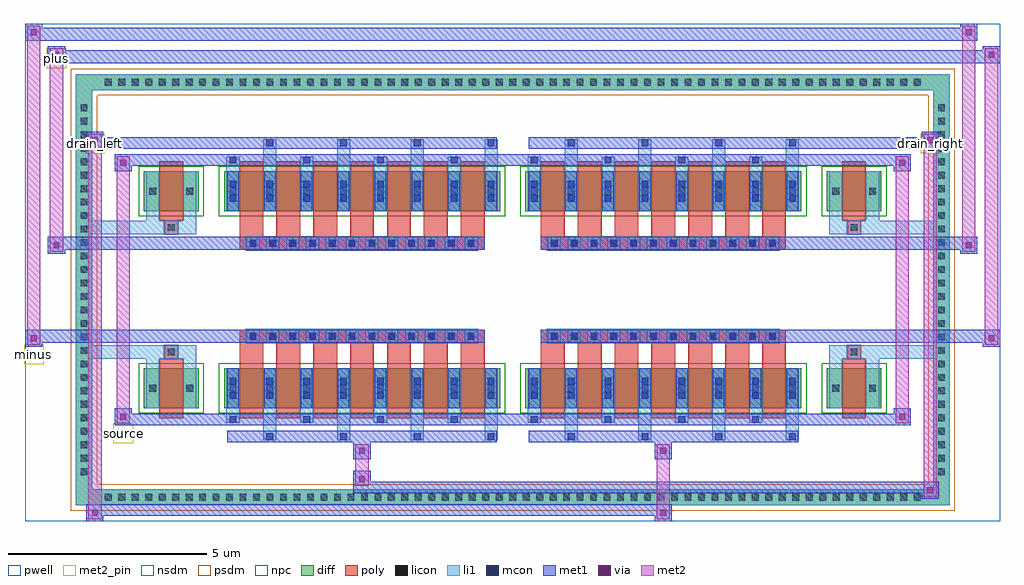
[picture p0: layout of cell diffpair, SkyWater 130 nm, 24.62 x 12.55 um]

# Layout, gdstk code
import gdstk
lib = gdstk.Library(unit=1e-6, precision=5e-09)
def R(c, l, rs):  # rectangles x0, y0, x1, y1
    for r in rs: c.add(gdstk.rectangle(r[:2], r[2:], *l))
def A(c, l, x, y, w, h, nx, ny, dx, dy):  # array of equal rectangles
    R(c, l, [(x+i*dx, y+j*dy, x+i*dx+w, y+j*dy+h) for i in range(nx) for j in range(ny)])
def P(c, l, *ps):  # polygons
    for p in ps: c.add(gdstk.Polygon(p, *l))
pwell = (64, 44)
diff = (65, 20)
poly = (66, 20)
licon = (66, 44)
li1 = (67, 20)
mcon = (67, 44)
met1 = (68, 20)
via = (68, 44)
met2_pin = (69, 16)
met2 = (69, 20)
nsdm = (93, 44)
psdm = (94, 20)
npc = (95, 20)

diffpair = lib.new_cell('diffpair')
R(diffpair, pwell, [(-12.29,-5.84,12.29,6.71), (-9.61,-4.03,-0.01,-0.805), (0.01,-4.03,9.61,-0.805), (-9.61,0.805,-0.01,4.03), (0.01,0.805,9.61,4.03)])
A(diffpair, diff, -10.405, -5.44, 0.41, 0.41, 61, 2, 0.34, 10.47)
A(diffpair, diff, -11.02, -4.795, 0.41, 0.41, 1, 28, 0, 0.34)
A(diffpair, diff, 10.61, -4.795, 0.41, 0.41, 1, 28, 0, 0.34)
R(diffpair, diff, [(-10.405,-5.44,10.405,-5.03), (-11.02,-4.795,-10.61,4.795), (10.61,-4.795,11.02,4.795), (-9.3,-2.985,-7.92,-1.985), (-7.28,-2.985,-0.32,-1.985), (0.32,-2.985,7.28,-1.985), (7.92,-2.985,9.3,-1.985), (-9.3,1.985,-7.92,2.985), (-7.28,1.985,-0.32,2.985), (0.32,1.985,7.28,2.985), (7.92,1.985,9.3,2.985), (-10.405,5.03,10.405,5.44)])
P(diffpair, diff, [(11.02,5.44),(-11.02,5.44),(-11.02,-5.03),(-10.61,-5.03),(-10.61,5.03),(10.61,5.03),(10.61,-5.03),(-10.61,-5.03),(-11.02,-5.03),(-11.02,-5.44),(11.02,-5.44)])
A(diffpair, poly, -6.89, -3.235, 0.6, 1.5, 7, 2, 0.93, 4.97)
A(diffpair, poly, 0.71, -3.235, 0.6, 1.5, 7, 2, 0.93, 4.97)
A(diffpair, poly, -6.89, -1.735, 0.6, 0.4, 7, 2, 0.93, 3.07)
A(diffpair, poly, 0.71, -1.735, 0.6, 0.4, 7, 2, 0.93, 3.07)
A(diffpair, poly, -6.715, -1.335, 0.33, 0.33, 12, 2, 0.5, 2.34)
A(diffpair, poly, 0.885, -1.335, 0.33, 0.33, 12, 2, 0.5, 2.34)
R(diffpair, poly, [(-8.91,-3.235,-8.31,-1.735), (8.31,-3.235,8.91,-1.735), (-8.775,-1.735,-8.445,-1.405), (-8.775,-1.735,-8.445,-1.405), (8.445,-1.735,8.775,-1.405), (8.445,-1.735,8.775,-1.405), (-6.89,-1.335,-0.71,-1.005), (0.71,-1.335,6.89,-1.005), (-6.89,1.005,-0.71,1.335), (0.71,1.005,6.89,1.335), (-8.775,1.405,-8.445,1.735), (-8.775,1.405,-8.445,1.735), (8.445,1.405,8.775,1.735), (8.445,1.405,8.775,1.735), (-8.91,1.735,-8.31,3.235), (8.31,1.735,8.91,3.235)])
A(diffpair, licon, -10.285, -5.32, 0.17, 0.17, 61, 2, 0.34, 10.47)
A(diffpair, licon, -10.9, -4.675, 0.17, 0.17, 1, 28, 0, 0.34)
A(diffpair, licon, 10.73, -4.675, 0.17, 0.17, 1, 28, 0, 0.34)
A(diffpair, licon, -7.14, -2.57, 0.17, 0.17, 8, 2, 0.93, 4.97)
A(diffpair, licon, 0.46, -2.57, 0.17, 0.17, 8, 2, 0.93, 4.97)
A(diffpair, licon, -6.635, -1.255, 0.17, 0.17, 12, 2, 0.5, 2.34)
A(diffpair, licon, 0.965, -1.255, 0.17, 0.17, 12, 2, 0.5, 2.34)
R(diffpair, licon, [(-9.16,-2.57,-8.99,-2.4), (-8.23,-2.57,-8.06,-2.4), (8.06,-2.57,8.23,-2.4), (8.99,-2.57,9.16,-2.4), (-8.695,-1.655,-8.525,-1.485), (8.525,-1.655,8.695,-1.485), (-8.695,1.485,-8.525,1.655), (8.525,1.485,8.695,1.655), (-9.16,2.4,-8.99,2.57), (-8.23,2.4,-8.06,2.57), (8.06,2.4,8.23,2.57), (8.99,2.4,9.16,2.57)])
A(diffpair, li1, -10.365, -5.4, 0.33, 0.33, 61, 2, 0.34, 10.47)
A(diffpair, li1, -10.98, -4.755, 0.33, 0.33, 1, 28, 0, 0.34)
A(diffpair, li1, 10.65, -4.755, 0.33, 0.33, 1, 28, 0, 0.34)
A(diffpair, li1, -6.29, -3.79, 0.33, 0.805, 4, 2, 1.86, 6.775)
A(diffpair, li1, -6.21, -3.79, 0.17, 0.17, 4, 2, 1.86, 7.41)
A(diffpair, li1, 1.31, -3.79, 0.33, 0.805, 4, 2, 1.86, 6.775)
A(diffpair, li1, 1.39, -3.79, 0.17, 0.17, 4, 2, 1.86, 7.41)
A(diffpair, li1, -7.22, -3.36, 0.33, 0.375, 4, 2, 1.86, 6.345)
A(diffpair, li1, -7.14, -3.36, 0.17, 0.17, 4, 2, 1.86, 6.55)
A(diffpair, li1, 0.38, -3.36, 0.33, 0.375, 4, 2, 1.86, 6.345)
A(diffpair, li1, 0.46, -3.36, 0.17, 0.17, 4, 2, 1.86, 6.55)
A(diffpair, li1, -7.22, -2.985, 0.33, 1, 8, 2, 0.93, 4.97)
A(diffpair, li1, 0.38, -2.985, 0.33, 1, 8, 2, 0.93, 4.97)
A(diffpair, li1, -7.14, -2.75, 0.17, 0.17, 8, 2, 0.93, 0.36)
A(diffpair, li1, -7.14, -2.75, 0.17, 0.53, 8, 2, 0.93, 4.97)
A(diffpair, li1, 0.46, -2.75, 0.17, 0.17, 8, 2, 0.93, 0.36)
A(diffpair, li1, 0.46, -2.75, 0.17, 0.53, 8, 2, 0.93, 4.97)
A(diffpair, li1, -7.22, -2.65, 0.33, 0.33, 8, 2, 0.93, 4.97)
A(diffpair, li1, 0.38, -2.65, 0.33, 0.33, 8, 2, 0.93, 4.97)
A(diffpair, li1, -6.715, -1.335, 0.33, 0.33, 12, 2, 0.5, 2.34)
A(diffpair, li1, 0.885, -1.335, 0.33, 0.33, 12, 2, 0.5, 2.34)
A(diffpair, li1, -7.14, 2.22, 0.17, 0.17, 8, 2, 0.93, 0.36)
A(diffpair, li1, 0.46, 2.22, 0.17, 0.17, 8, 2, 0.93, 0.36)
R(diffpair, li1, [(-11.02,-5.44,-10.61,-5.03), (-11.02,-5.44,-10.61,-5.03), (-10.61,-5.44,10.61,-5.03), (10.61,-5.44,11.02,-5.03), (10.61,-5.44,11.02,-5.03), (-11.02,-5.03,-10.61,5.03), (10.61,-5.03,11.02,5.03), (-9.24,-2.985,-8.91,-1.985), (-8.31,-2.985,-7.98,-1.985), (7.98,-2.985,8.31,-1.985), (8.91,-2.985,9.24,-1.985), (-9.24,-2.65,-8.91,-2.32), (-8.31,-2.65,-7.98,-2.32), (7.98,-2.65,8.31,-2.32), (8.91,-2.65,9.24,-2.32), (-9.24,-1.985,-8.91,-1.405), (-8.31,-1.985,-7.98,-1.405), (7.98,-1.985,8.31,-1.405), (8.91,-1.985,9.24,-1.405), (-11.02,-1.735,-8.775,-1.405), (-9.24,-1.735,-8.775,-1.405), (-8.775,-1.735,-8.445,-1.405), (-8.445,-1.735,-7.98,-1.405), (7.98,-1.735,8.445,-1.405), (8.445,-1.735,8.775,-1.405), (8.445,-1.735,11.02,-1.405), (8.775,-1.735,9.24,-1.405), (-11.02,1.405,-8.775,1.735), (-9.24,1.405,-8.775,1.735), (-9.24,1.405,-8.91,1.985), (-8.775,1.405,-8.445,1.735), (-8.445,1.405,-7.98,1.735), (-8.31,1.405,-7.98,1.985), (7.98,1.405,8.445,1.735), (7.98,1.405,8.31,1.985), (8.445,1.405,8.775,1.735), (8.445,1.405,11.02,1.735), (8.775,1.405,9.24,1.735), (8.91,1.405,9.24,1.985), (-9.24,1.985,-8.91,2.985), (-8.31,1.985,-7.98,2.985), (7.98,1.985,8.31,2.985), (8.91,1.985,9.24,2.985), (-9.24,2.32,-8.91,2.65), (-8.31,2.32,-7.98,2.65), (7.98,2.32,8.31,2.65), (8.91,2.32,9.24,2.65), (-11.02,5.03,-10.61,5.44), (-11.02,5.03,-10.61,5.44), (-10.61,5.03,10.61,5.44), (10.61,5.03,11.02,5.44), (10.61,5.03,11.02,5.44)])
A(diffpair, mcon, -6.21, -3.79, 0.17, 0.17, 4, 2, 1.86, 7.41)
A(diffpair, mcon, 1.39, -3.79, 0.17, 0.17, 4, 2, 1.86, 7.41)
A(diffpair, mcon, -7.14, -3.36, 0.17, 0.17, 4, 2, 1.86, 6.55)
A(diffpair, mcon, 0.46, -3.36, 0.17, 0.17, 4, 2, 1.86, 6.55)
A(diffpair, mcon, -7.14, -2.75, 0.17, 0.17, 8, 2, 0.93, 0.36)
A(diffpair, mcon, 0.46, -2.75, 0.17, 0.17, 8, 2, 0.93, 0.36)
A(diffpair, mcon, -6.635, -1.255, 0.17, 0.17, 12, 2, 0.5, 2.34)
A(diffpair, mcon, 0.965, -1.255, 0.17, 0.17, 12, 2, 0.5, 2.34)
A(diffpair, mcon, -7.14, 2.22, 0.17, 0.17, 8, 2, 0.93, 0.36)
A(diffpair, mcon, 0.46, 2.22, 0.17, 0.17, 8, 2, 0.93, 0.36)
A(diffpair, met1, -6.27, -3.85, 0.29, 0.29, 4, 2, 1.86, 7.41)
A(diffpair, met1, 1.33, -3.85, 0.29, 0.29, 4, 2, 1.86, 7.41)
A(diffpair, met1, -7.2, -3.42, 0.29, 0.29, 4, 2, 1.86, 6.55)
A(diffpair, met1, 0.4, -3.42, 0.29, 0.29, 4, 2, 1.86, 6.55)
A(diffpair, met1, -7.2, -2.985, 0.29, 1, 8, 2, 0.93, 4.97)
A(diffpair, met1, 0.4, -2.985, 0.29, 1, 8, 2, 0.93, 4.97)
A(diffpair, met1, -7.2, -2.81, 0.29, 0.29, 8, 2, 0.93, 0.36)
A(diffpair, met1, 0.4, -2.81, 0.29, 0.29, 8, 2, 0.93, 0.36)
A(diffpair, met1, -6.695, -1.315, 0.29, 0.29, 12, 2, 0.5, 2.34)
A(diffpair, met1, 0.905, -1.315, 0.29, 0.29, 12, 2, 0.5, 2.34)
A(diffpair, met1, -7.2, 2.16, 0.29, 0.29, 8, 2, 0.93, 0.36)
A(diffpair, met1, 0.4, 2.16, 0.29, 0.29, 8, 2, 0.93, 0.36)
R(diffpair, met1, [(-10.75,-5.84,-10.32,-5.41), (3.585,-5.84,4.015,-5.41), (-10.75,-5.7,4.015,-5.41), (10.32,-5.27,10.75,-4.84), (-4.015,-5.13,10.75,-4.84), (-4.015,-4.99,-3.585,-4.56), (-4.015,-4.28,-3.585,-3.85), (3.585,-4.28,4.015,-3.85), (-7.2,-3.85,-0.4,-3.56), (0.4,-3.85,7.2,-3.56), (-10.04,-3.42,-9.61,-2.99), (-10.04,-3.42,-7.2,-3.13), (-7.2,-3.42,-0.4,-3.13), (-0.4,-3.42,0.4,-3.13), (0.4,-3.42,7.2,-3.13), (7.2,-3.42,10.04,-3.13), (9.61,-3.42,10.04,-2.99), (-12.29,-1.435,-11.86,-1.005), (11.86,-1.435,12.29,-1.005), (-12.29,-1.335,-0.71,-1.005), (-6.89,-1.335,-0.71,-1.005), (0.71,-1.335,6.89,-1.005), (0.71,-1.335,12.29,-1.005), (-11.72,0.905,-11.29,1.335), (11.29,0.905,11.72,1.335), (-11.72,1.005,-6.89,1.335), (-6.89,1.005,-0.71,1.335), (0.71,1.005,6.89,1.335), (6.89,1.005,11.72,1.335), (-10.04,2.99,-9.61,3.42), (9.61,2.99,10.04,3.42), (-10.04,3.13,-7.2,3.42), (-7.2,3.13,-0.4,3.42), (-0.4,3.13,0.4,3.42), (0.4,3.13,7.2,3.42), (7.2,3.13,10.04,3.42), (-10.75,3.56,-10.32,3.99), (-10.75,3.56,-7.2,3.85), (-7.2,3.56,-0.4,3.85), (0.4,3.56,7.2,3.85), (7.2,3.56,10.75,3.85), (10.32,3.56,10.75,3.99), (-11.72,5.71,-11.29,6.14), (-11.72,5.71,-9.61,6.04), (-9.61,5.71,9.61,6.04), (9.61,5.71,12.29,6.04), (11.86,5.71,12.29,6.14), (-12.29,6.28,-11.86,6.71), (-12.29,6.28,-9.61,6.61), (-9.61,6.28,9.61,6.61), (9.61,6.28,11.72,6.61), (11.29,6.28,11.72,6.71)])
R(diffpair, via, [(-10.61,-5.7,-10.46,-5.55), (3.725,-5.7,3.875,-5.55), (10.46,-5.13,10.61,-4.98), (-3.875,-4.85,-3.725,-4.7), (-3.875,-4.14,-3.725,-3.99), (3.725,-4.14,3.875,-3.99), (-9.9,-3.28,-9.75,-3.13), (9.75,-3.28,9.9,-3.13), (-12.15,-1.295,-12,-1.145), (12,-1.295,12.15,-1.145), (-11.58,1.045,-11.43,1.195), (11.43,1.045,11.58,1.195), (-9.9,3.13,-9.75,3.28), (9.75,3.13,9.9,3.28), (-10.61,3.7,-10.46,3.85), (10.46,3.7,10.61,3.85), (-11.58,5.85,-11.43,6), (12,5.85,12.15,6), (-12.15,6.42,-12,6.57), (11.43,6.42,11.58,6.57)])
R(diffpair, met2_pin, [(-10.075,-3.87,-9.575,-3.37), (-12.325,-1.885,-11.825,-1.385), (-10.785,3.44,-10.285,3.94), (10.285,3.44,10.785,3.94), (-11.755,5.59,-11.255,6.09)])
R(diffpair, met2, [(-10.7,-5.79,-10.37,-5.46), (-10.7,-5.79,-10.37,3.94), (3.635,-5.79,3.965,-5.46), (3.635,-5.46,3.965,-4.23), (10.37,-5.22,10.7,-4.89), (10.37,-5.22,10.7,3.94), (-3.965,-4.94,-3.635,-4.61), (-3.965,-4.61,-3.635,-4.23), (-3.965,-4.23,-3.635,-3.9), (3.635,-4.23,3.965,-3.9), (-9.99,-3.37,-9.66,-3.04), (-9.99,-3.37,-9.66,3.37), (9.66,-3.37,9.99,-3.04), (9.66,-3.37,9.99,3.37), (-12.24,-1.385,-11.91,-1.055), (-12.24,-1.385,-11.91,6.66), (11.91,-1.385,12.24,-1.055), (11.91,-1.385,12.24,6.09), (-11.67,0.955,-11.34,1.285), (-11.67,0.955,-11.34,6.09), (11.34,0.955,11.67,1.285), (11.34,0.955,11.67,6.66), (-9.99,3.04,-9.66,3.37), (9.66,3.04,9.99,3.37), (-10.7,3.61,-10.37,3.94), (10.37,3.61,10.7,3.94), (-11.67,5.76,-11.34,6.09), (11.91,5.76,12.24,6.09), (-12.24,6.33,-11.91,6.66), (11.34,6.33,11.67,6.66)])
P(diffpair, met2, [(12.24,-1.385),(12.24,-1.385),(12.24,-1.055),(12.24,-1.055)],
  [(12.24,5.76),(12.24,5.76),(12.24,6.09),(12.24,6.09)],
  [(-11.91,-1.385),(-11.91,-1.385),(-11.91,-1.055),(-11.91,-1.055)],
  [(-11.91,6.33),(-11.91,6.33),(-11.91,6.66),(-11.91,6.66)],
  [(11.67,0.955),(11.67,0.955),(11.67,1.285),(11.67,1.285)],
  [(11.67,6.33),(11.67,6.33),(11.67,6.66),(11.67,6.66)],
  [(-11.34,0.955),(-11.34,0.955),(-11.34,1.285),(-11.34,1.285)],
  [(-11.34,5.76),(-11.34,5.76),(-11.34,6.09),(-11.34,6.09)],
  [(-10.37,-5.79),(-10.37,-5.79),(-10.37,-5.46),(-10.37,-5.46)],
  [(-10.37,3.61),(-10.37,3.61),(-10.37,3.94),(-10.37,3.94)],
  [(10.7,-5.22),(10.7,-5.22),(10.7,-4.89),(10.7,-4.89)],
  [(10.7,3.61),(10.7,3.61),(10.7,3.94),(10.7,3.94)],
  [(-9.66,-3.37),(-9.66,-3.37),(-9.66,-3.04),(-9.66,-3.04)],
  [(-9.66,3.04),(-9.66,3.04),(-9.66,3.37),(-9.66,3.37)],
  [(9.99,-3.37),(9.99,-3.37),(9.99,-3.04),(9.99,-3.04)],
  [(9.99,3.04),(9.99,3.04),(9.99,3.37),(9.99,3.37)])
R(diffpair, nsdm, [(-9.43,-3.115,-7.79,-1.855), (-7.41,-3.115,-0.19,-1.855), (0.19,-3.115,7.41,-1.855), (7.79,-3.115,9.43,-1.855), (-9.43,1.855,-7.79,3.115), (-7.41,1.855,-0.19,3.115), (0.19,1.855,7.41,3.115), (7.79,1.855,9.43,3.115)])
P(diffpair, psdm, [(11.15,5.57),(-11.15,5.57),(-11.15,-4.9),(-10.48,-4.9),(-10.48,4.9),(10.48,4.9),(10.48,-4.9),(-10.48,-4.9),(-11.15,-4.9),(-11.15,-5.57),(11.15,-5.57)])
A(diffpair, npc, -6.735, -1.355, 0.37, 0.37, 12, 2, 0.5, 2.34)
A(diffpair, npc, 0.865, -1.355, 0.37, 0.37, 12, 2, 0.5, 2.34)
R(diffpair, npc, [(-8.795,-1.755,-8.425,-1.385), (8.425,-1.755,8.795,-1.385), (-6.735,-1.355,-5.865,-0.985), (-6.735,-1.355,-5.865,-0.985), (-6.235,-1.355,-5.365,-0.985), (-6.235,-1.355,-5.365,-0.985), (-5.735,-1.355,-4.865,-0.985), (-5.735,-1.355,-4.865,-0.985), (-5.235,-1.355,-4.365,-0.985), (-5.235,-1.355,-4.365,-0.985), (-4.735,-1.355,-3.865,-0.985), (-4.735,-1.355,-3.865,-0.985), (-4.235,-1.355,-3.365,-0.985), (-4.235,-1.355,-3.365,-0.985), (-3.735,-1.355,-2.865,-0.985), (-3.735,-1.355,-2.865,-0.985), (-3.235,-1.355,-2.365,-0.985), (-3.235,-1.355,-2.365,-0.985), (-2.735,-1.355,-1.865,-0.985), (-2.735,-1.355,-1.865,-0.985), (-2.235,-1.355,-1.365,-0.985), (-2.235,-1.355,-1.365,-0.985), (-1.735,-1.355,-0.865,-0.985), (-1.735,-1.355,-0.865,-0.985), (0.865,-1.355,1.735,-0.985), (0.865,-1.355,1.735,-0.985), (1.365,-1.355,2.235,-0.985), (1.365,-1.355,2.235,-0.985), (1.865,-1.355,2.735,-0.985), (1.865,-1.355,2.735,-0.985), (2.365,-1.355,3.235,-0.985), (2.365,-1.355,3.235,-0.985), (2.865,-1.355,3.735,-0.985), (2.865,-1.355,3.735,-0.985), (3.365,-1.355,4.235,-0.985), (3.365,-1.355,4.235,-0.985), (3.865,-1.355,4.735,-0.985), (3.865,-1.355,4.735,-0.985), (4.365,-1.355,5.235,-0.985), (4.365,-1.355,5.235,-0.985), (4.865,-1.355,5.735,-0.985), (4.865,-1.355,5.735,-0.985), (5.365,-1.355,6.235,-0.985), (5.365,-1.355,6.235,-0.985), (5.865,-1.355,6.735,-0.985), (5.865,-1.355,6.735,-0.985), (-6.735,0.985,-5.865,1.355), (-6.735,0.985,-5.865,1.355), (-6.235,0.985,-5.365,1.355), (-6.235,0.985,-5.365,1.355), (-5.735,0.985,-4.865,1.355), (-5.735,0.985,-4.865,1.355), (-5.235,0.985,-4.365,1.355), (-5.235,0.985,-4.365,1.355), (-4.735,0.985,-3.865,1.355), (-4.735,0.985,-3.865,1.355), (-4.235,0.985,-3.365,1.355), (-4.235,0.985,-3.365,1.355), (-3.735,0.985,-2.865,1.355), (-3.735,0.985,-2.865,1.355), (-3.235,0.985,-2.365,1.355), (-3.235,0.985,-2.365,1.355), (-2.735,0.985,-1.865,1.355), (-2.735,0.985,-1.865,1.355), (-2.235,0.985,-1.365,1.355), (-2.235,0.985,-1.365,1.355), (-1.735,0.985,-0.865,1.355), (-1.735,0.985,-0.865,1.355), (0.865,0.985,1.735,1.355), (0.865,0.985,1.735,1.355), (1.365,0.985,2.235,1.355), (1.365,0.985,2.235,1.355), (1.865,0.985,2.735,1.355), (1.865,0.985,2.735,1.355), (2.365,0.985,3.235,1.355), (2.365,0.985,3.235,1.355), (2.865,0.985,3.735,1.355), (2.865,0.985,3.735,1.355), (3.365,0.985,4.235,1.355), (3.365,0.985,4.235,1.355), (3.865,0.985,4.735,1.355), (3.865,0.985,4.735,1.355), (4.365,0.985,5.235,1.355), (4.365,0.985,5.235,1.355), (4.865,0.985,5.735,1.355), (4.865,0.985,5.735,1.355), (5.365,0.985,6.235,1.355), (5.365,0.985,6.235,1.355), (5.865,0.985,6.735,1.355), (5.865,0.985,6.735,1.355), (-8.795,1.385,-8.425,1.755), (8.425,1.385,8.795,1.755)])
diffpair.add(gdstk.Label('minus', (-12.075,-1.635), layer=69, texttype=5))
diffpair.add(gdstk.Label('drain_right', (10.535,3.69), layer=69, texttype=5))
diffpair.add(gdstk.Label('drain_left', (-10.535,3.69), layer=69, texttype=5))
diffpair.add(gdstk.Label('source', (-9.825,-3.62), layer=69, texttype=5))
diffpair.add(gdstk.Label('plus', (-11.505,5.84), layer=69, texttype=5))

lib.write_gds('diffpair.gds')
